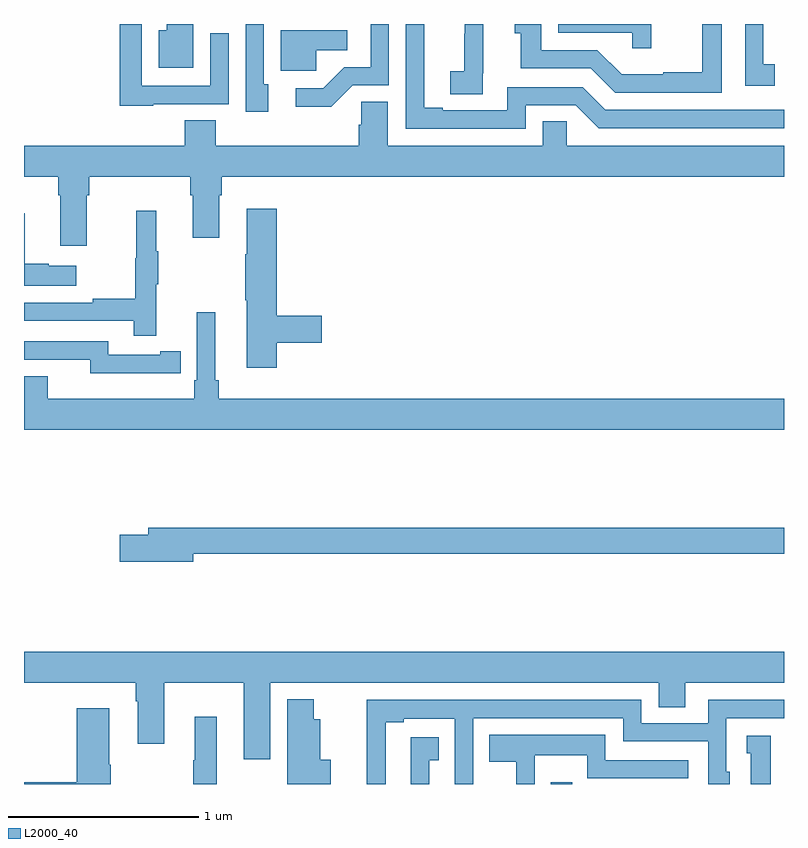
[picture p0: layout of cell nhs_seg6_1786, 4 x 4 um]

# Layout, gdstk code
import gdstk
lib = gdstk.Library(unit=1e-6, precision=1e-09)
def R(c, l, rs):  # rectangles x0, y0, x1, y1
    for r in rs: c.add(gdstk.rectangle(r[:2], r[2:], *l))
def P(c, l, *ps):  # polygons
    for p in ps: c.add(gdstk.Polygon(p, *l))
L2000_40 = (2000, 40)

nhs_seg6_1786 = lib.new_cell('nhs_seg6_1786')
R(nhs_seg6_1786, L2000_40, [(221.773,917.5,221.886,917.509)])
P(nhs_seg6_1786, L2000_40, [(222.302,921.5),(221.811,921.5),(221.811,921.453),(222.201,921.453),(222.201,921.372),(222.302,921.372)],
  [(222.95,921.287),(222.892,921.287),(222.892,921.5),(222.795,921.5),(222.795,921.174),(222.95,921.174)],
  [(219.892,921.5),(219.752,921.5),(219.752,921.466),(219.71,921.466),(219.71,921.269),(219.892,921.269)],
  [(222.672,921.5),(222.571,921.5),(222.571,921.247),(222.365,921.247),(222.365,921.235),(222.146,921.235),(222.018,921.363),(221.722,921.363),(221.722,921.5),(221.582,921.5),(221.582,921.451),(221.615,921.451),(221.615,921.267),(221.982,921.267),(222.111,921.138),(222.672,921.138)],
  [(219.681,921.078),(220.077,921.078),(220.077,921.451),(219.981,921.451),(219.981,921.174),(219.621,921.174),(219.621,921.5),(219.505,921.5),(219.505,921.071),(219.681,921.071)],
  [(220.731,921.177),(220.92,921.177),(220.92,921.5),(220.824,921.5),(220.824,921.273),(220.686,921.273),(220.575,921.162),(220.431,921.162),(220.431,921.065),(220.618,921.065)],
  [(220.285,921.183),(220.263,921.183),(220.263,921.5),(220.167,921.5),(220.167,921.039),(220.285,921.039)],
  [(221.64,921.072),(221.904,921.072),(222.024,920.952),(223,920.952),(223,921.048),(222.06,921.048),(221.94,921.168),(221.544,921.168),(221.544,921.045),(221.203,921.045),(221.203,921.06),(221.107,921.06),(221.107,921.5),(221.01,921.5),(221.01,920.949),(221.64,920.949)],
  [(221.414,921.241),(221.416,921.241),(221.416,921.5),(221.319,921.5),(221.319,921.449),(221.318,921.449),(221.318,921.252),(221.244,921.252),(221.244,921.13),(221.414,921.13)],
  [(220.539,921.362),(220.702,921.362),(220.702,921.466),(220.352,921.466),(220.352,921.255),(220.539,921.255)],
  [(219.331,920.6),(219.344,920.6),(219.344,920.696),(219.875,920.696),(219.875,920.6),(219.887,920.6),(219.887,920.376),(220.027,920.376),(220.027,920.6),(220.04,920.6),(220.04,920.696),(223,920.696),(223,920.86),(221.856,920.86),(221.856,920.987),(221.729,920.987),(221.729,920.86),(220.915,920.86),(220.915,921.092),(220.776,921.092),(220.776,920.969),(220.763,920.969),(220.763,920.86),(220.01,920.86),(220.01,920.993),(219.845,920.993),(219.845,920.86),(219,920.86),(219,920.696),(219.179,920.696),(219.179,920.6),(219.191,920.6),(219.191,920.334),(219.331,920.334)],
  [(220.331,919.822),(220.567,919.822),(220.567,919.964),(220.331,919.964),(220.331,920.527),(220.172,920.527),(220.172,920.288),(220.165,920.288),(220.165,920.047),(220.172,920.047),(220.172,919.692),(220.331,919.692)],
  [(219.695,920.131),(219.706,920.131),(219.706,920.305),(219.695,920.305),(219.695,920.518),(219.592,920.518),(219.592,920.268),(219.585,920.268),(219.585,920.054),(219.361,920.054),(219.361,920.034),(219,920.034),(219,919.938),(219.577,919.938),(219.577,919.86),(219.695,919.86)],
  [(219.274,920.227),(219.131,920.227),(219.131,920.237),(219.004,920.237),(219.004,920.503),(219,920.503),(219,920.123),(219.274,920.123)],
  [(219,919.645),(219,919.364),(223,919.364),(223,919.528),(220.025,919.528),(220.025,919.624),(220.006,919.624),(220.006,919.984),(219.909,919.984),(219.909,919.624),(219.896,919.624),(219.896,919.528),(219.124,919.528),(219.124,919.645)],
  [(219.716,919.662),(219.824,919.662),(219.824,919.778),(219.716,919.778),(219.716,919.758),(219.444,919.758),(219.444,919.83),(219,919.83),(219,919.734),(219.348,919.734),(219.348,919.661),(219.716,919.661)],
  [(219.892,918.712),(223,918.712),(223,918.848),(219.653,918.848),(219.653,918.812),(219.504,918.812),(219.504,918.67),(219.892,918.67)],
  [(220.297,918.032),(222.341,918.032),(222.341,917.905),(222.481,917.905),(222.481,918.032),(223,918.032),(223,918.196),(219,918.196),(219,918.032),(219.587,918.032),(219.587,917.936),(219.599,917.936),(219.599,917.712),(219.739,917.712),(219.739,918.032),(220.157,918.032),(220.157,917.631),(220.297,917.631)],
  [(220.615,917.628),(220.558,917.628),(220.558,917.842),(220.525,917.842),(220.525,917.947),(220.385,917.947),(220.385,917.5),(220.615,917.5)],
  [(220.903,917.826),(220.999,917.826),(220.999,917.843),(221.268,917.843),(221.268,917.5),(221.364,917.5),(221.364,917.847),(222.153,917.847),(222.153,917.724),(222.6,917.724),(222.6,917.5),(222.715,917.5),(222.715,917.565),(222.696,917.565),(222.696,917.847),(223,917.847),(223,917.943),(222.6,917.943),(222.6,917.82),(222.249,917.82),(222.249,917.943),(221.261,917.943),(221.261,917.944),(220.804,917.944),(220.804,917.5),(220.903,917.5)],
  [(219.456,917.602),(219.448,917.602),(219.448,917.899),(219.278,917.899),(219.278,917.51),(219,917.51),(219,917.5),(219.456,917.5)],
  [(220.015,917.854),(219.899,917.854),(219.899,917.624),(219.892,917.624),(219.892,917.5),(220.015,917.5)],
  [(221.688,917.651),(221.964,917.651),(221.964,917.53),(222.067,917.53),(222.067,917.529),(222.496,917.529),(222.496,917.625),(222.06,917.625),(222.06,917.758),(221.449,917.758),(221.449,917.618),(221.591,917.618),(221.591,917.5),(221.688,917.5)],
  [(222.931,917.754),(222.803,917.754),(222.803,917.661),(222.824,917.661),(222.824,917.5),(222.931,917.5)],
  [(221.134,917.625),(221.183,917.625),(221.183,917.746),(221.036,917.746),(221.036,917.5),(221.134,917.5)])

lib.write_gds('nhs_seg6_1786.gds')
